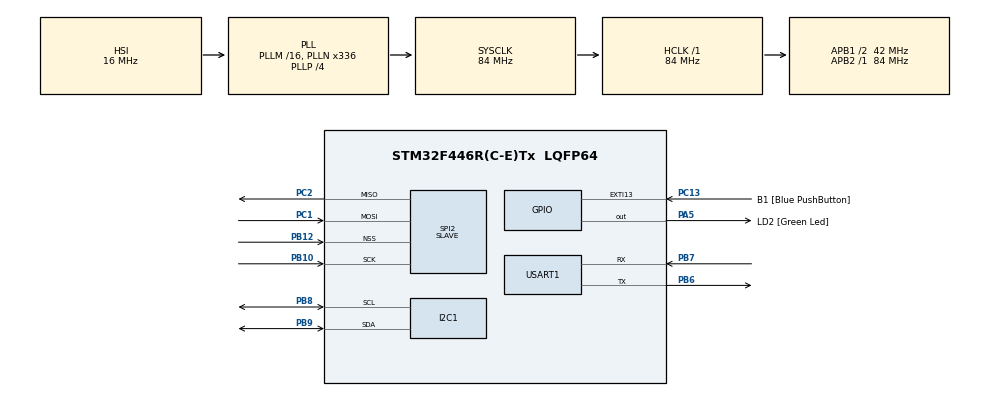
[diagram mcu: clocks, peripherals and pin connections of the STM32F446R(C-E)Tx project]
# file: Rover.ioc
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Dma.Request0=USART1_RX
Dma.Request1=SPI2_TX
Dma.Request2=SPI2_RX
Dma.SPI2_RX.2.Direction=DMA_PERIPH_TO_MEMORY
Dma.SPI2_RX.2.FIFOMode=DMA_FIFOMODE_DISABLE
Dma.SPI2_RX.2.Instance=DMA1_Stream3
Dma.SPI2_RX.2.MemDataAlignment=DMA_MDATAALIGN_BYTE
Dma.SPI2_RX.2.MemInc=DMA_MINC_ENABLE
Dma.SPI2_RX.2.Mode=DMA_CIRCULAR
Dma.SPI2_RX.2.PeriphDataAlignment=DMA_PDATAALIGN_BYTE
Dma.SPI2_RX.2.PeriphInc=DMA_PINC_DISABLE
Dma.SPI2_RX.2.Priority=DMA_PRIORITY_VERY_HIGH
Dma.SPI2_TX.1.Direction=DMA_MEMORY_TO_PERIPH
Dma.SPI2_TX.1.FIFOMode=DMA_FIFOMODE_DISABLE
Dma.SPI2_TX.1.Instance=DMA1_Stream4
Dma.SPI2_TX.1.MemDataAlignment=DMA_MDATAALIGN_BYTE
Dma.SPI2_TX.1.MemInc=DMA_MINC_ENABLE
Dma.SPI2_TX.1.Mode=DMA_CIRCULAR
Dma.SPI2_TX.1.PeriphDataAlignment=DMA_PDATAALIGN_BYTE
Dma.SPI2_TX.1.PeriphInc=DMA_PINC_DISABLE
Dma.SPI2_TX.1.Priority=DMA_PRIORITY_VERY_HIGH
Dma.USART1_RX.0.Direction=DMA_PERIPH_TO_MEMORY
Dma.USART1_RX.0.FIFOMode=DMA_FIFOMODE_DISABLE
Dma.USART1_RX.0.Instance=DMA2_Stream2
Dma.USART1_RX.0.MemDataAlignment=DMA_MDATAALIGN_BYTE
Dma.USART1_RX.0.MemInc=DMA_MINC_ENABLE
Dma.USART1_RX.0.Mode=DMA_CIRCULAR
Dma.USART1_RX.0.PeriphDataAlignment=DMA_PDATAALIGN_BYTE
Dma.USART1_RX.0.PeriphInc=DMA_PINC_DISABLE
Dma.USART1_RX.0.Priority=DMA_PRIORITY_LOW
FREERTOS.Mutexes01=command_mutex,Dynamic,NULL
FREERTOS.Tasks01=defaultTask,0,128,StartDefaultTask,Default,NULL,Dynamic,NULL,NULL;controlTask,2,255,startControlTask,Default,NULL,Dynamic,NULL,NULL
Mcu.Family=STM32F4
Mcu.Name=STM32F446R(C-E)Tx
Mcu.Package=LQFP64
NVIC.DMA1_Stream3_IRQn=true\:5\:0\:false\:false\:true\:true\:false\:true
NVIC.DMA1_Stream4_IRQn=true\:5\:0\:false\:false\:true\:true\:false\:true
NVIC.DMA2_Stream2_IRQn=true\:5\:0\:false\:false\:true\:true\:false\:true
NVIC.PriorityGroup=NVIC_PRIORITYGROUP_4
NVIC.TIM2_IRQn=true\:0\:0\:false\:false\:true\:false\:false\:true
NVIC.TimeBase=TIM2_IRQn
NVIC.TimeBaseIP=TIM2
PA13.GPIO_Label=TMS
PA13.Mode=Serial_Wire
PA13.Signal=SYS_JTMS-SWDIO
PA14.GPIO_Label=TCK
PA14.Mode=Serial_Wire
PA14.Signal=SYS_JTCK-SWCLK
PA5.GPIO_Label=LD2 [Green Led]
PA5.Signal=GPIO_Output
PB10.Mode=Full_Duplex_Slave
PB10.Signal=SPI2_SCK
PB12.Mode=NSS_Signal_Hard_Input
PB12.Signal=SPI2_NSS
PB3.GPIO_Label=SWO
PB3.Signal=SYS_JTDO-SWO
PB6.Mode=Asynchronous
PB6.Signal=USART1_TX
PB7.Mode=Asynchronous
PB7.Signal=USART1_RX
PB8.Mode=I2C
PB8.Signal=I2C1_SCL
PB9.Mode=I2C
PB9.Signal=I2C1_SDA
PC1.Mode=Full_Duplex_Slave
PC1.Signal=SPI2_MOSI
PC13.GPIO_Label=B1 [Blue PushButton]
PC13.GPIO_ModeDefaultEXTI=GPIO_MODE_IT_FALLING
PC13.Signal=GPXTI13
PC14-OSC32_IN.Mode=LSE-External-Oscillator
PC14-OSC32_IN.Signal=RCC_OSC32_IN
PC15-OSC32_OUT.Mode=LSE-External-Oscillator
PC15-OSC32_OUT.Signal=RCC_OSC32_OUT
PC2.Mode=Full_Duplex_Slave
PC2.Signal=SPI2_MISO
PH0-OSC_IN.Mode=HSE-External-Oscillator
PH0-OSC_IN.Signal=RCC_OSC_IN
PH1-OSC_OUT.Mode=HSE-External-Oscillator
PH1-OSC_OUT.Signal=RCC_OSC_OUT
ProjectManager.HeapSize=0x200
ProjectManager.StackSize=0x400
ProjectManager.TargetToolchain=STM32CubeIDE
RCC.48MHZClocksFreq_Value=84000000
RCC.AHBFreq_Value=84000000
RCC.APB1CLKDivider=RCC_HCLK_DIV2
RCC.APB1Freq_Value=42000000
RCC.APB1TimFreq_Value=84000000
RCC.APB2Freq_Value=84000000
RCC.APB2TimFreq_Value=84000000
RCC.CortexFreq_Value=84000000
RCC.FLatency-AdvancedSettings=FLASH_LATENCY_2
RCC.HCLKFreq_Value=84000000
RCC.HSE_VALUE=8000000
RCC.HSI_VALUE=16000000
RCC.PLLN=336
RCC.PLLP=RCC_PLLP_DIV4
RCC.SYSCLKFreq_VALUE=84000000
RCC.SYSCLKSource=RCC_SYSCLKSOURCE_PLLCLK
RCC.USBFreq_Value=168000000
RCC.VCOOutputFreq_Value=336000000
SPI2.CLKPhase=SPI_PHASE_2EDGE
SPI2.CLKPolarity=SPI_POLARITY_LOW
SPI2.Direction=SPI_DIRECTION_2LINES
SPI2.FirstBit=SPI_FIRSTBIT_MSB
SPI2.Mode=SPI_MODE_SLAVE
SPI2.TIMode=SPI_TIMODE_DISABLE
SPI2.VirtualNSS=VM_NSSHARD
SPI2.VirtualType=VM_SLAVE
USART1.VirtualMode=VM_ASYNC
VP_FREERTOS_VS_CMSIS_V1.Mode=CMSIS_V1
VP_SYS_VS_tim2.Mode=TIM2
board=NUCLEO-F446RE

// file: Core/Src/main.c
/* USER CODE BEGIN Header */
/**
  ******************************************************************************
  * @file           : main.c
  * @brief          : Main program body.
  * @details 		:
  *
  * @mainpage		 Main program body
  * @section       intro_sec Introduction
  * 			   Rover STM32 firmware is able to receive a speed and orientation command from a PC and execute it
  * 			   according to the configuration file RoverConfig.h. The rover state is then sent to the PC.
  * 			   -# The project tree consists of the following bricks:
  * 				  - Communication: Communication with the PC.
  * 				  - Control: Control of the rover actuators.
  * 				  - Peripherals: STM32 peripherals configuration which interface the rover actuators.
  * 				  - Sensors: Drivers of the sensors and the peripherals data.
  *			       -# Two FreeRTOS tasks are scheduled:
  * 				- StartDefaultTask: background task.
  * 				- startControlTask: The main task triggered by a signal from
  * 				TIM3 ISR handle.
  * @author 		: M'barek ZACRI
  *******************************************************************************/
/*
  * attention
  *
  * <h2><center>&copy; Copyright (c) 2020 STMicroelectronics.
  * All rights reserved.</center></h2>
  *
  * This software component is licensed by ST under BSD 3-Clause license,
  * the "License"; You may not use this file except in compliance with the
  * License. You may obtain a copy of the License at:
  *                        opensource.org/licenses/BSD-3-Clause
  *
  ******************************************************************************
  */
/* USER CODE END Header */

#include "main.h"
#include "cmsis_os.h"

/* USER CODE BEGIN Includes */
#include <string.h>
#include <stdio.h>
#include <time.h>
#include "math.h"

#include <Control/Control.h>

#include <Sensors/AckermannOdom.h>
#include <Sensors/Filters/BrushlessSpeed_Kalman.h>
#include <Sensors/Filters/EulerOrientationCompFilter.h>
#include <Sensors/Filters/LowPassFilters.h>
#include <Sensors/Filters/ModelDrivenFilters.h>

#include <Sensors/MPU6050/sd_hal_mpu6050.h>
#include <Sensors/RoverStateSensors.h>

#include "Communication/Raspberry.h"

#include "Peripherals/timersConfig.h"
#include "Peripherals/DMAConfig.h"
#include "Peripherals/ADCConfig.h"

#if defined SYSTEMVIEW
#include "../SystemView/SEGGER/SEGGER_SYSVIEW.h"
#endif
/* USER CODE END Includes */

I2C_HandleTypeDef hi2c1;

SPI_HandleTypeDef hspi2;
DMA_HandleTypeDef hdma_spi2_tx;
DMA_HandleTypeDef hdma_spi2_rx;

UART_HandleTypeDef huart1;
DMA_HandleTypeDef hdma_usart1_rx;

osThreadId defaultTaskHandle;
osThreadId controlTaskHandle;
osMutexId command_mutexHandle;
/* USER CODE BEGIN PV */

//Global variables (For SWV)
float batteryVolt=0;
int battery_dead=0;
float speed=0;
float filtered_speed=0;
float servoCommand=0;
float bldcCommand=0;
int servoControl=0,brushlessControl=0;

//DMA memory segments:
uint8_t rxComData[82];
uint8_t txComData[82];

volatile uint16_t inADC[2];  //ADCs input ( inADC[0] ~ servo pose; inADC[1] ~  Battery voltage measurement )   (Linked to DMA2)

#if SENSOR == 3     //Reset mode + estimated direction
volatile uint32_t timestamp;  //BLDC speed (Linked to DMA1)
#elif SENSOR == 4    //Reset mode + calculated direction
volatile uint32_t timestamp;  //BLDC speed (Linked to DMA1)
volatile uint16_t inGPIOA[2];  //BLDC direction (Linked to DMA2)
#endif

//Structures:
SD_MPU6050 mpu1;
EULER_ANGLES angles;
ROVER_STATE	state;

//Debug:
uint16_t start=0,end=0,total=0; //Execution time evaluation using timers
float brushlessSpeed_brut=0,servoPose_brut=0; //testing

/* USER CODE END PV */

void SystemClock_Config(void);
static void MX_GPIO_Init(void);
static void MX_DMA_Init(void);
static void MX_USART1_UART_Init(void);
static void MX_I2C1_Init(void);
static void MX_SPI2_Init(void);
void StartDefaultTask(void const * argument);
void startControlTask(void const * argument);

/* USER CODE BEGIN PFP */
static void Start_Peripherals(void);
static void Brushless_Calibration(void);
static void Timers_config(void);
static void DMA_Config(volatile uint16_t *inADC,volatile uint16_t *inGPIOA,volatile uint32_t *timestamp);
/* USER CODE END PFP */

/* USER CODE BEGIN 0 */

//-------------------Interrupt handlers:
//TIM3 CH1 Control interrupt:
void TIM3_IRQHandler(void)
  {
	//Clear compare flag signal:
	TIM3->SR&=0x00;

	osSignalSet (controlTaskHandle, 0x0001); //Triggering signal of control task

  }

/* USER CODE END 0 */

int main(void)
{

  /* MCU Configuration--------------------------------------------------------*/

  /* Reset of all peripherals, Initializes the Flash interface and the Systick. */
  HAL_Init();

  /* Configure the system clock */
  SystemClock_Config();

  /* Initialize all configured peripherals */
  MX_GPIO_Init();
  MX_DMA_Init();
  MX_USART1_UART_Init();
  MX_I2C1_Init();
  MX_SPI2_Init();
  /* USER CODE BEGIN 2 */
  //----------Peripherals enable:
  RCC->APB1ENR|=RCC_APB1ENR_PWREN; //Enable powering APB1 bus

  //----------Inits:
  AckermannOdom_init();
  //Init Kalman:
  KalmanFilter_init();
  //Init MPU:
  mpuInit(&mpu1,&hi2c1);  //if init fails, led2 stays on
  //Init complimentary filter:
  initAngles(&angles,mpu1);

  //----------Timers configuration:
  Timers_config();

  //----------ADC configuration:
  ADC1_init();

  //----------Peripherals DMA configuration:
  DMA_Config(inADC,inGPIOA,&timestamp);

  //----------DMA for Communication:
#if COMMAND_SOURCE == RASP
  HAL_SPI_TransmitReceive_DMA(&hspi2, txComData, rxComData, sizeof(rxComData));  //SPI RX/TX DMA1 (RX: stream3 ; TX: stream4)
  DMA1_Stream3->CR &= ~(DMA_SxCR_TCIE | DMA_SxCR_DMEIE | DMA_SxCR_HTIE | DMA_SxCR_TEIE); //Disable interrupt on DMA1_Stream3 ( SPI Rx )
  DMA1_Stream4->CR &= ~(DMA_SxCR_TCIE | DMA_SxCR_DMEIE | DMA_SxCR_HTIE | DMA_SxCR_TEIE); //Disable interrupt on DMA1_Stream4 ( SPI Tx )
#endif

  /* USER CODE END 2 */
  /* Create the mutex(es) */
  /* definition and creation of command_mutex */
  osMutexDef(command_mutex);
  command_mutexHandle = osMutexCreate(osMutex(command_mutex));

  /* Create the thread(s) */
  /* definition and creation of defaultTask */
  osThreadDef(defaultTask, StartDefaultTask, osPriorityNormal, 0, 128);
  defaultTaskHandle = osThreadCreate(osThread(defaultTask), NULL);

  /* definition and creation of controlTask */
  osThreadDef(controlTask, startControlTask, osPriorityHigh, 0, 1024);
  controlTaskHandle = osThreadCreate(osThread(controlTask), NULL);

  /* USER CODE BEGIN RTOS_THREADS */
  /* add threads, ... */
#if defined SYSTEMVIEW
  //SEGGER VIEWER:
  SEGGER_SYSVIEW_Conf();
  vSetVarulMaxPRIGROUPValue();  //For SystemView to work, you need to modify portmacro.h and port.c after every generation of code. Cf Core/SystemView/portsPatch.txt
  SEGGER_SYSVIEW_Start();
  TIM2->CR1|=TIM_CR1_CEN;  //SysTick
#endif

  //-------------Start peripherals (DMA, timers...):
  Start_Peripherals();
  /* USER CODE END RTOS_THREADS */

  /* Start scheduler */
  osKernelStart();

  /* We should never get here as control is now taken by the scheduler */

  /* Infinite loop */
  /* USER CODE BEGIN WHILE */

  //-------------Calibration of the brushless
  //Brushless_Calibration();
  while (1)
  {
    /* USER CODE END WHILE */

  }
}

void SystemClock_Config(void)
{
  RCC_OscInitTypeDef RCC_OscInitStruct = {0};
  RCC_ClkInitTypeDef RCC_ClkInitStruct = {0};

  /** Configure the main internal regulator output voltage
  */
  __HAL_RCC_PWR_CLK_ENABLE();
  __HAL_PWR_VOLTAGESCALING_CONFIG(PWR_REGULATOR_VOLTAGE_SCALE3);
  /** Initializes the CPU, AHB and APB busses clocks
  */
  RCC_OscInitStruct.OscillatorType = RCC_OSCILLATORTYPE_HSI;
  RCC_OscInitStruct.HSIState = RCC_HSI_ON;
  RCC_OscInitStruct.HSICalibrationValue = RCC_HSICALIBRATION_DEFAULT;
  RCC_OscInitStruct.PLL.PLLState = RCC_PLL_ON;
  RCC_OscInitStruct.PLL.PLLSource = RCC_PLLSOURCE_HSI;
  RCC_OscInitStruct.PLL.PLLM = 16;
  RCC_OscInitStruct.PLL.PLLN = 336;
  RCC_OscInitStruct.PLL.PLLP = RCC_PLLP_DIV4;
  RCC_OscInitStruct.PLL.PLLQ = 2;
  RCC_OscInitStruct.PLL.PLLR = 2;
  if (HAL_RCC_OscConfig(&RCC_OscInitStruct) != HAL_OK)
  {
    Error_Handler();
  }
  /** Initializes the CPU, AHB and APB busses clocks
  */
  RCC_ClkInitStruct.ClockType = RCC_CLOCKTYPE_HCLK|RCC_CLOCKTYPE_SYSCLK
                              |RCC_CLOCKTYPE_PCLK1|RCC_CLOCKTYPE_PCLK2;
  RCC_ClkInitStruct.SYSCLKSource = RCC_SYSCLKSOURCE_PLLCLK;
  RCC_ClkInitStruct.AHBCLKDivider = RCC_SYSCLK_DIV1;
  RCC_ClkInitStruct.APB1CLKDivider = RCC_HCLK_DIV2;
  RCC_ClkInitStruct.APB2CLKDivider = RCC_HCLK_DIV1;

  if (HAL_RCC_ClockConfig(&RCC_ClkInitStruct, FLASH_LATENCY_2) != HAL_OK)
  {
    Error_Handler();
  }
}

static void MX_I2C1_Init(void)
{

  hi2c1.Instance = I2C1;
  hi2c1.Init.ClockSpeed = 100000;
  hi2c1.Init.DutyCycle = I2C_DUTYCYCLE_2;
  hi2c1.Init.OwnAddress1 = 0;
  hi2c1.Init.AddressingMode = I2C_ADDRESSINGMODE_7BIT;
  hi2c1.Init.DualAddressMode = I2C_DUALADDRESS_DISABLE;
  hi2c1.Init.OwnAddress2 = 0;
  hi2c1.Init.GeneralCallMode = I2C_GENERALCALL_DISABLE;
  hi2c1.Init.NoStretchMode = I2C_NOSTRETCH_DISABLE;
  if (HAL_I2C_Init(&hi2c1) != HAL_OK)
  {
    Error_Handler();
  }

}

static void MX_SPI2_Init(void)
{

  /* SPI2 parameter configuration*/
  hspi2.Instance = SPI2;
  hspi2.Init.Mode = SPI_MODE_SLAVE;
  hspi2.Init.Direction = SPI_DIRECTION_2LINES;
  hspi2.Init.DataSize = SPI_DATASIZE_8BIT;
  hspi2.Init.CLKPolarity = SPI_POLARITY_LOW;
  hspi2.Init.CLKPhase = SPI_PHASE_2EDGE;
  hspi2.Init.NSS = SPI_NSS_HARD_INPUT;
  hspi2.Init.FirstBit = SPI_FIRSTBIT_MSB;
  hspi2.Init.TIMode = SPI_TIMODE_DISABLE;
  hspi2.Init.CRCCalculation = SPI_CRCCALCULATION_DISABLE;
  hspi2.Init.CRCPolynomial = 10;
  if (HAL_SPI_Init(&hspi2) != HAL_OK)
  {
    Error_Handler();
  }

}

static void MX_USART1_UART_Init(void)
{

  huart1.Instance = USART1;
  huart1.Init.BaudRate = 115200;
  huart1.Init.WordLength = UART_WORDLENGTH_8B;
  huart1.Init.StopBits = UART_STOPBITS_1;
  huart1.Init.Parity = UART_PARITY_NONE;
  huart1.Init.Mode = UART_MODE_TX_RX;
  huart1.Init.HwFlowCtl = UART_HWCONTROL_NONE;
  huart1.Init.OverSampling = UART_OVERSAMPLING_16;
  if (HAL_UART_Init(&huart1) != HAL_OK)
  {
    Error_Handler();
  }

}

static void MX_DMA_Init(void)
{

  /* DMA controller clock enable */
  __HAL_RCC_DMA2_CLK_ENABLE();
  __HAL_RCC_DMA1_CLK_ENABLE();

  /* DMA interrupt init */
  /* DMA1_Stream3_IRQn interrupt configuration */
  HAL_NVIC_SetPriority(DMA1_Stream3_IRQn, 5, 0);
  HAL_NVIC_EnableIRQ(DMA1_Stream3_IRQn);
  /* DMA1_Stream4_IRQn interrupt configuration */
  HAL_NVIC_SetPriority(DMA1_Stream4_IRQn, 5, 0);
  HAL_NVIC_EnableIRQ(DMA1_Stream4_IRQn);
  /* DMA2_Stream2_IRQn interrupt configuration */
  HAL_NVIC_SetPriority(DMA2_Stream2_IRQn, 5, 0);
  HAL_NVIC_EnableIRQ(DMA2_Stream2_IRQn);

}

static void MX_GPIO_Init(void)
{
  GPIO_InitTypeDef GPIO_InitStruct = {0};

  /* GPIO Ports Clock Enable */
  __HAL_RCC_GPIOC_CLK_ENABLE();
  __HAL_RCC_GPIOH_CLK_ENABLE();
  __HAL_RCC_GPIOA_CLK_ENABLE();
  __HAL_RCC_GPIOB_CLK_ENABLE();

  /*Configure GPIO pin Output Level */
  HAL_GPIO_WritePin(LD2_GPIO_Port, LD2_Pin, GPIO_PIN_RESET);

  /*Configure GPIO pin : B1_Pin */
  GPIO_InitStruct.Pin = B1_Pin;
  GPIO_InitStruct.Mode = GPIO_MODE_IT_FALLING;
  GPIO_InitStruct.Pull = GPIO_NOPULL;
  HAL_GPIO_Init(B1_GPIO_Port, &GPIO_InitStruct);

  /*Configure GPIO pin : LD2_Pin */
  GPIO_InitStruct.Pin = LD2_Pin;
  GPIO_InitStruct.Mode = GPIO_MODE_OUTPUT_PP;
  GPIO_InitStruct.Pull = GPIO_NOPULL;
  GPIO_InitStruct.Speed = GPIO_SPEED_FREQ_LOW;
  HAL_GPIO_Init(LD2_GPIO_Port, &GPIO_InitStruct);

}

/* USER CODE BEGIN 4 */
//Functions:

void Start_Peripherals(void){
  //Enable DMA1
    DMA1_Stream2->CR|=DMA_SxCR_EN;  //Rear speed
  #if SENSOR == 4
    DMA2_Stream1->CR|=DMA_SxCR_EN;  //Rear direction
  #endif
    DMA2_Stream0->CR|=DMA_SxCR_EN;  //Servo position
  //Enable ADC1:
    ADC1->CR2|=ADC_CR2_ADON;
  //START timers
    TIM5->CR1|=TIM_CR1_CEN;  //Speed
  #if SENSOR == 4
    TIM1->CR1|=TIM_CR1_CEN;  //Direction
  #endif
    TIM3->CR1|=TIM_CR1_CEN;  //Control execution
}

void DMA_Config(volatile uint16_t *inADC,volatile uint16_t *inGPIOA,volatile uint32_t *timestamp){
	  DMA2_Stream0_Init(inADC);   //ADC1 stream of the two converted analog inputs
	#if SENSOR == 3
	  DMA1_Stream2_Init(&timestamp);   //Rear speed
	#elif SENSOR == 4
	  DMA1_Stream2_Init(timestamp);   //Rear speed
	  DMA2_Stream1_Init(inGPIOA);   //Rear direction
	#endif
}

void Timers_config(void){
	#if SENSOR == 4
	  TIM1_Init();
	#endif
	  TIM3_Init();
	  TIM5_Init();
	#if defined SYSTEMVIEW
	  TIM2_Init();
	#endif
}

static void Brushless_Calibration(void){
	  HAL_Delay(2000);
	  HAL_GPIO_TogglePin(LD2_GPIO_Port, LD2_Pin);
	  TIM3->CCR3=4500;
	  HAL_GPIO_TogglePin(LD2_GPIO_Port, LD2_Pin);
	  TIM3->CCR3=6000;
	  HAL_GPIO_TogglePin(LD2_GPIO_Port, LD2_Pin);
	  TIM3->CCR3=3000;
	  HAL_Delay(2000);
	  HAL_GPIO_TogglePin(LD2_GPIO_Port, LD2_Pin);
	  TIM3->CCR3=4700;
}
/* USER CODE END 4 */

void StartDefaultTask(void const * argument)
{
  /* USER CODE BEGIN 5 */
  /* Infinite loop */
  for(;;)
  {

#if	COMMAND_SOURCE == INT
	  intCommandAlternator(&bldcCommand,&servoCommand);
	  HAL_Delay(2500);
#endif
	  osMutexWait(command_mutexHandle, osWaitForever);
	  //Stop led blinking when battery is dead:
	  if (!battery_dead){
		  HAL_GPIO_TogglePin(LD2_GPIO_Port, LD2_Pin);
	  }
	  osMutexRelease(command_mutexHandle);
	  osDelay(500);
  }
  /* USER CODE END 5 */
}

void startControlTask(void const * argument)
{
  /* USER CODE BEGIN startControlTask */
  /* Infinite loop */
  for(;;)
	{
	  //Wait for TIM3 ISR signal:
      osSignalWait (0x0001, osWaitForever);
	  start=TIM3->CNT;  //Execution time
		//--------------Update command:
	  #if COMMAND_SOURCE == RASP
	  	  Update_command(rxComData,&bldcCommand,&servoCommand);
	  	  if(battery_dead){  //If battery is drained, negative speed may be altered. Stop moving is more adequate.
	  		  bldcCommand=0;
	  	  }
	  #endif

	  //--------------Servo control:
	  servoControl=Servo_command(servoCommand);
	  int adjust_zero_pose=0;
	  if(servoCommand==0){
		  if(state.servoPose>0){
			  adjust_zero_pose=ADJUST_POSITIVE;
		  } else if (state.servoPose<0){
			  adjust_zero_pose=ADJUST_NEGATIVE;
		  }
	  }
	  TIM3->CCR2=servoControl+SERVO_ZERO_POSE+adjust_zero_pose;

	  //--------------Servo position:
	  #if ESTIMATE_SERVO_POSE
			state.servoPose=EstimateServoPos(servoControl);
	  #else
			float infiltered_servoPose=0;
			infiltered_servoPose=SenseServoPos(inADC[0]);  //Computed servo position using ADC.
			servoPose_brut=infiltered_servoPose;
			infiltered_servoPose=ServoPoseFilter(infiltered_servoPose,servoControl);
			//state.servoPose=infiltered_servoPose;
			state.servoPose=LowPassFilter2(infiltered_servoPose);  //third order low pass filter bandwidth at 30ms
	  #endif
	  //---------------Compute speed:
	  #if SENSOR == 3
			float infiltered_speed=0;
			infiltered_speed=Sensor3_speed(brushlessControl,&timestamp);
      #elif SENSOR == 4
			float infiltered_speed=0;
			infiltered_speed=Sensor4_speed(brushlessControl,&timestamp,inGPIOA);
	  #endif
		brushlessSpeed_brut=infiltered_speed;  //testing
		infiltered_speed=SpeedFilter(infiltered_speed,brushlessControl); //Model driven filter
		speed=LowPassFilter1(infiltered_speed); //Low pass filter at 31 ms bandwidth
		if(speed>MAX_COMMAND){
			TIM3->CCR3=4500; //Safety
		}

		//-------------Sense IMU:
		SD_MPU6050_ReadGyroscope(&hi2c1,&mpu1);
		SD_MPU6050_ReadAccelerometer(&hi2c1,&mpu1);

		//-------------Kalman filtering of speed:
		double Ax=0;
		Ax=mpu1.Accelerometer_X*mpu1.Acce_Mult;
		filtered_speed=(float)KalmanFilter(Ax,speed);

		//-------------BLDC control:
		//TODO: Stack analysis when using a feedback loop
	  #if CONTROL == RE
			brushlessControl=Re(bldcCommand,filtered_speed);
			TIM3->CCR3=brushlessControl+4500;
	  #elif CONTROL == OL
			brushlessControl=OpenLoop(bldcCommand);
			TIM3->CCR3=brushlessControl+4500;
	  #endif

		//-------------Compute Roll,Pitch,Yaw:
		///Complimentary filter:
		computeAccelAngles(&angles,mpu1);
		computeGyroAngles(&angles,mpu1,0.02);
		computeAngles(&angles,0.2);

		//--------------Update state:
		state.rearSpeed=filtered_speed;
        //Battery management
		batteryVolt=SenseBatteryVoltage(inADC[1]);
		state.batteryVolt=LowPassFilter3(batteryVolt);
		osMutexWait(command_mutexHandle, osWaitForever);
		if (state.batteryVolt < BATTERY_VOLTAGE_THRESHOLD){
			HAL_GPIO_WritePin(LD2_GPIO_Port, LD2_Pin, GPIO_PIN_RESET);
			battery_dead=1;
		} else {
			battery_dead=0;
		}
		osMutexRelease(command_mutexHandle);

		//-------------Compute Odometry using Ackermann car model:
		float v_var=0.2*state.rearSpeed*state.rearSpeed;
		float steering_var=0.0076;
		float w=0;
		float M[4];
		AckermannOdom(state.rearSpeed,state.servoPose,v_var,steering_var,&w,M);
		Ackermann_RetrieveOdom(&state); //update state
		state.w=w;
		state.speed_covariance[0]=M[0];
		state.speed_covariance[1]=M[1];
		state.speed_covariance[2]=M[2];
		state.speed_covariance[3]=M[3];

		///------------Send state:
		Send_state_SPI(state,txComData);

		end=TIM3->CNT;
		total=(end-start);  //Execution time  ~2ms with openLoop
  }
  /* USER CODE END startControlTask */
}

void HAL_TIM_PeriodElapsedCallback(TIM_HandleTypeDef *htim)
{
  if (htim->Instance == TIM7) {
    HAL_IncTick();
  }
}

void Error_Handler(void)
{
}

/************************ (C) COPYRIGHT STMicroelectronics *****END OF FILE****/
